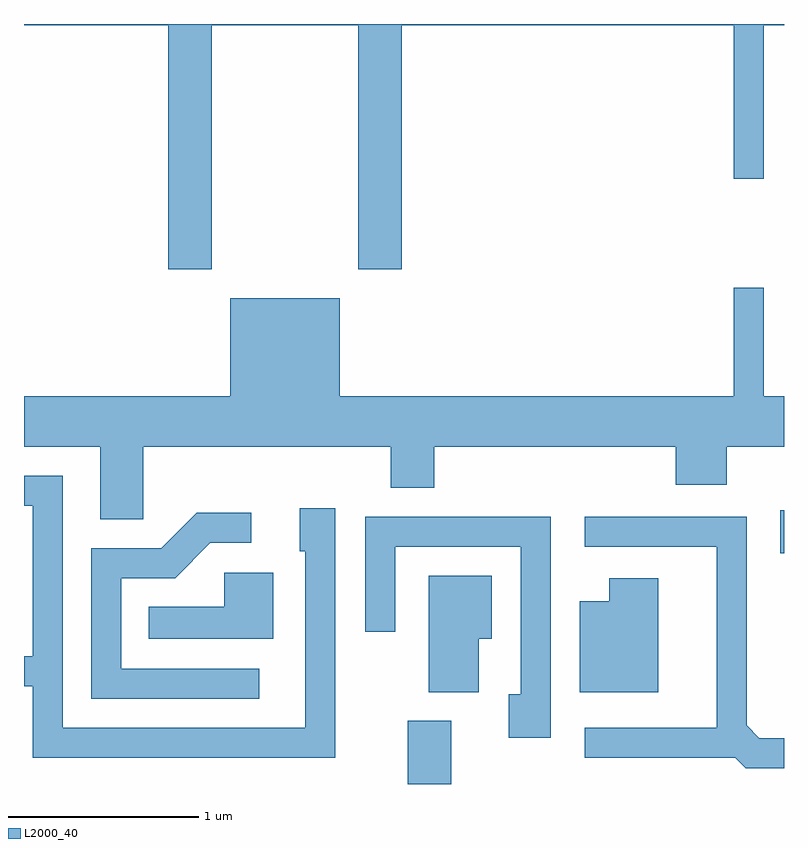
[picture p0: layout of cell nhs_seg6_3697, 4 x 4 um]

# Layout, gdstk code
import gdstk
lib = gdstk.Library(unit=1e-6, precision=1e-09)
def R(c, l, rs):  # rectangles x0, y0, x1, y1
    for r in rs: c.add(gdstk.rectangle(r[:2], r[2:], *l))
def P(c, l, *ps):  # polygons
    for p in ps: c.add(gdstk.Polygon(p, *l))
L2000_40 = (2000, 40)

nhs_seg6_3697 = lib.new_cell('nhs_seg6_3697')
R(nhs_seg6_3697, L2000_40, [(297.631,1648.162,297.859,1648.494), (299.591,1649.376,299.611,1649.604)])
P(nhs_seg6_3697, L2000_40, [(296.599,1652.156),(297.371,1652.156),(297.371,1650.871),(297.599,1650.871),(297.599,1652.156),(299.346,1652.156),(299.346,1651.348),(299.504,1651.348),(299.504,1652.156),(299.611,1652.156),(299.611,1652.162),(295.611,1652.162),(295.611,1652.156),(296.371,1652.156),(296.371,1650.871),(296.599,1650.871)],
  [(296.239,1649.936),(297.541,1649.936),(297.541,1649.721),(297.769,1649.721),(297.769,1649.936),(299.041,1649.936),(299.041,1649.736),(299.309,1649.736),(299.309,1649.936),(299.611,1649.936),(299.611,1650.204),(299.504,1650.204),(299.504,1650.773),(299.346,1650.773),(299.346,1650.204),(297.274,1650.204),(297.274,1650.719),(296.696,1650.719),(296.696,1650.204),(295.611,1650.204),(295.611,1649.936),(296.011,1649.936),(296.011,1649.556),(296.239,1649.556)],
  [(297.249,1649.614),(297.061,1649.614),(297.061,1649.386),(297.091,1649.386),(297.091,1648.459),(295.814,1648.459),(295.814,1649.784),(295.611,1649.784),(295.611,1649.626),(295.656,1649.626),(295.656,1648.834),(295.611,1648.834),(295.611,1648.676),(295.656,1648.676),(295.656,1648.301),(297.249,1648.301)],
  [(296.848,1648.769),(296.124,1648.769),(296.124,1649.246),(296.407,1649.246),(296.592,1649.431),(296.808,1649.431),(296.808,1649.589),(296.519,1649.589),(296.334,1649.404),(295.966,1649.404),(295.966,1648.611),(296.848,1648.611)],
  [(299.611,1648.404),(299.482,1648.404),(299.414,1648.472),(299.414,1649.569),(298.563,1649.569),(298.563,1649.411),(299.256,1649.411),(299.256,1648.459),(298.563,1648.459),(298.563,1648.301),(299.354,1648.301),(299.409,1648.246),(299.611,1648.246)],
  [(298.384,1649.569),(297.406,1649.569),(297.406,1648.963),(297.564,1648.963),(297.564,1649.411),(298.226,1649.411),(298.226,1648.634),(298.161,1648.634),(298.161,1648.406),(298.384,1648.406)],
  [(296.924,1649.274),(296.666,1649.274),(296.666,1649.094),(296.268,1649.094),(296.268,1648.926),(296.924,1648.926)],
  [(298.004,1648.926),(298.074,1648.926),(298.074,1649.259),(297.741,1649.259),(297.741,1648.646),(298.004,1648.646)],
  [(298.949,1649.244),(298.691,1649.244),(298.691,1649.124),(298.536,1649.124),(298.536,1648.646),(298.949,1648.646)])

lib.write_gds('nhs_seg6_3697.gds')
